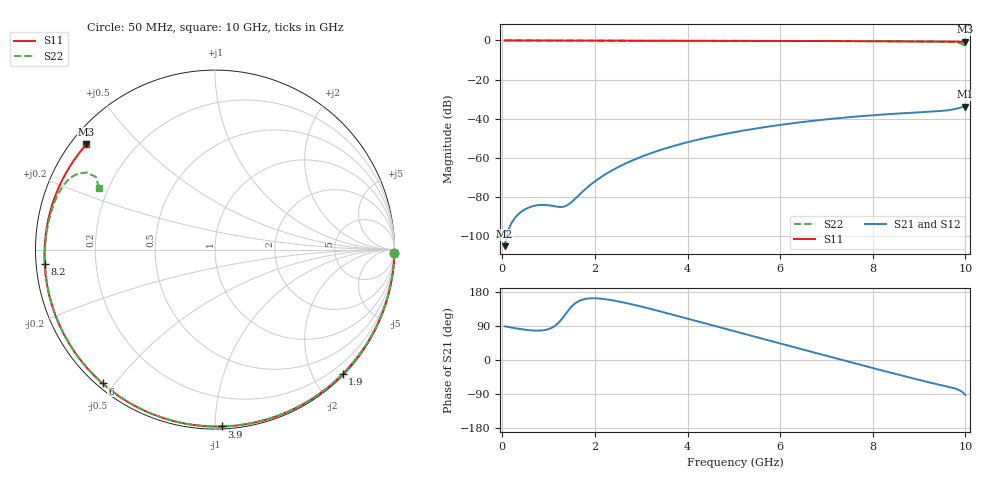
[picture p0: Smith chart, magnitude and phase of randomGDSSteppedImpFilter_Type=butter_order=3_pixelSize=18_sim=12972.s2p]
! freq	dB(S11)	phase(S11)	dB(S12)	phase(S12)
!  dB(S21)	phase(S21)	dB(S22)	phase(S22)
!S-par simulation data
#  GHz  S  DB  R 50
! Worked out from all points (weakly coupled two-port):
!   200 points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, 50 MHz to 10 GHz, reference 50 ohm
!   highest |S21| = -33.82 dB at 10 GHz (marker M1); lowest = -105.0 dB at 50 MHz (marker M2)
!   lowest |S11| = -0.7 dB at 10 GHz (marker M3), VSWR 26.12, Z = 2.16 + j17.8 ohm
!   |S11| at or under -10 dB: nowhere
!   |S22| runs from -2.7 to 0.0 dB; largest |S21 - S12| = 0
!   S11 on the Smith chart (normalised r, x): 50 MHz: 1, -95; 1.9 GHz: 0.02, -2.45; 3.9 GHz: 0.01, -1.04; 6 GHz: 0.02, -0.47; 8.2 GHz: 0.02, -0.04; 10 GHz: 0.04, +0.36
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0.05  -0.00 -1.2  -104.98 89.0  -104.98 89.0  -0.00 -1.2
0.8  -0.02 -18.9  -83.98 77.6  -83.98 77.6  -0.02 -18.5
1.6  -0.05 -37.5  -80.19 151.8  -80.19 151.8  -0.05 -36.6
1.75  -0.05 -40.9  -76.80 160.0  -76.80 160.0  -0.05 -39.9
1.9  -0.06 -44.3  -73.73 162.8  -73.73 162.8  -0.06 -43.3
2.2  -0.06 -51.1  -68.67 160.8  -68.67 160.8  -0.06 -49.9
2.55  -0.08 -58.9  -64.06 153.5  -64.06 153.5  -0.07 -57.4
2.95  -0.09 -67.6  -59.84 142.5  -59.84 142.5  -0.09 -65.9
3.4  -0.10 -77.2  -56.00 128.6  -56.00 128.6  -0.10 -75.3
3.9  -0.12 -87.7  -52.54 112.3  -52.54 112.3  -0.12 -85.5
5.05  -0.17 -111.1  -46.64 74.4  -46.64 74.4  -0.17 -108.2
6  -0.23 -130.0  -43.10 43.6  -43.10 43.6  -0.22 -126.3
6.7  -0.28 -144.0  -41.02 20.8  -41.02 20.8  -0.27 -139.5
7.45  -0.35 -159.2  -39.23 -3.5  -39.23 -3.5  -0.33 -153.8
8.2  -0.42 -175.1  -37.84 -27.6  -37.84 -27.6  -0.41 -168.6
8.35  -0.44 -178.4  -37.60 -32.3  -37.60 -32.3  -0.42 -171.6
8.95  -0.51 167.8  -36.74 -51.0  -36.74 -51.0  -0.50 175.8
9.5  -0.59 154.2  -35.91 -67.2  -35.91 -67.2  -0.62 162.7
9.7  -0.62 148.9  -35.35 -72.8  -35.35 -72.8  -0.77 156.7
9.85  -0.64 144.9  -34.53 -78.6  -34.53 -78.6  -1.19 150.9
9.95  -0.66 142.1  -33.89 -86.5  -33.89 -86.5  -2.18 148.6
10  -0.67 140.7  -33.82 -92.2  -33.82 -92.2  -2.72 152.0
